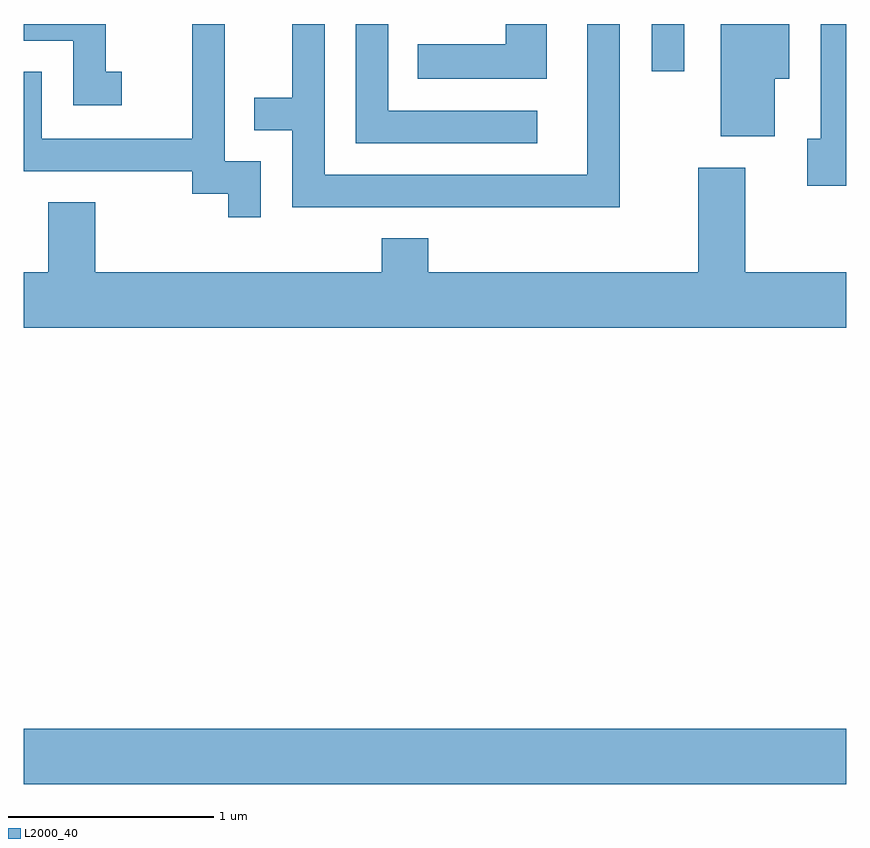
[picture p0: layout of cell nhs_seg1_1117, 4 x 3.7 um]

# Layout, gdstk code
import gdstk
lib = gdstk.Library(unit=1e-6, precision=1e-09)
def R(c, l, rs):  # rectangles x0, y0, x1, y1
    for r in rs: c.add(gdstk.rectangle(r[:2], r[2:], *l))
def P(c, l, *ps):  # polygons
    for p in ps: c.add(gdstk.Polygon(p, *l))
L2000_40 = (2000, 40)

nhs_seg1_1117 = lib.new_cell('nhs_seg1_1117')
R(nhs_seg1_1117, L2000_40, [(219.611,904.016,223.611,904.284), (222.666,907.483,222.824,907.712)])
P(nhs_seg1_1117, L2000_40, [(223.611,907.712),(223.486,907.712),(223.486,907.154),(223.421,907.154),(223.421,906.926),(223.611,906.926)],
  [(220.088,907.479),(220.009,907.479),(220.009,907.712),(219.611,907.712),(219.611,907.631),(219.851,907.631),(219.851,907.316),(220.088,907.316)],
  [(223.264,907.446),(223.334,907.446),(223.334,907.712),(223.001,907.712),(223.001,907.166),(223.264,907.166)],
  [(222.509,907.712),(222.351,907.712),(222.351,906.979),(221.074,906.979),(221.074,907.712),(220.916,907.712),(220.916,907.354),(220.733,907.354),(220.733,907.196),(220.916,907.196),(220.916,906.821),(222.509,906.821)],
  [(222.108,907.289),(221.384,907.289),(221.384,907.712),(221.226,907.712),(221.226,907.131),(222.108,907.131)],
  [(222.154,907.712),(221.956,907.712),(221.956,907.614),(221.528,907.614),(221.528,907.446),(222.154,907.446)],
  [(220.764,907.044),(220.589,907.044),(220.589,907.712),(220.431,907.712),(220.431,907.154),(219.699,907.154),(219.699,907.479),(219.611,907.479),(219.611,906.996),(220.431,906.996),(220.431,906.886),(220.606,906.886),(220.606,906.773),(220.764,906.773)],
  [(223.611,906.504),(223.119,906.504),(223.119,907.014),(222.891,907.014),(222.891,906.504),(221.579,906.504),(221.579,906.669),(221.351,906.669),(221.351,906.504),(219.959,906.504),(219.959,906.844),(219.731,906.844),(219.731,906.504),(219.611,906.504),(219.611,906.236),(223.611,906.236)])

lib.write_gds('nhs_seg1_1117.gds')
